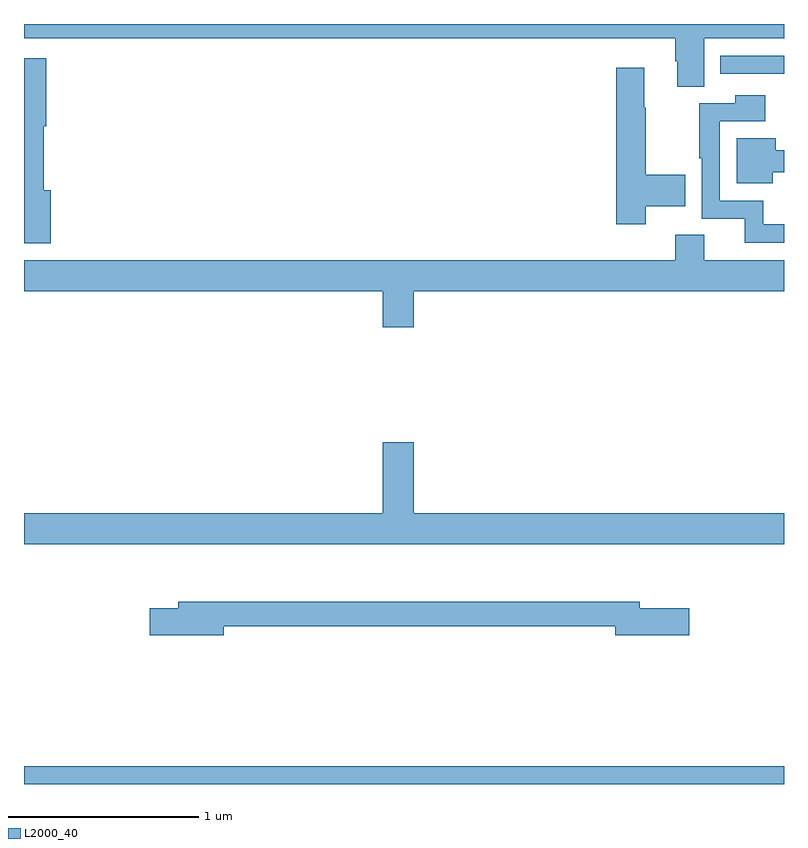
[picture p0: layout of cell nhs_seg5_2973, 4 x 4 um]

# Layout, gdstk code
import gdstk
lib = gdstk.Library(unit=1e-6, precision=1e-09)
def R(c, l, rs):  # rectangles x0, y0, x1, y1
    for r in rs: c.add(gdstk.rectangle(r[:2], r[2:], *l))
def P(c, l, *ps):  # polygons
    for p in ps: c.add(gdstk.Polygon(p, *l))
L2000_40 = (2000, 40)

nhs_seg5_2973 = lib.new_cell('nhs_seg5_2973')
R(nhs_seg5_2973, L2000_40, [(283,888.799,287,888.892), (286.664,892.536,287,892.632)])
P(nhs_seg5_2973, L2000_40, [(286.579,892.724),(287,892.724),(287,892.799),(283,892.799),(283,892.724),(286.427,892.724),(286.427,892.602),(286.439,892.602),(286.439,892.468),(286.579,892.468)],
  [(283.142,891.924),(283.105,891.924),(283.105,892.262),(283.118,892.262),(283.118,892.618),(283,892.618),(283,891.645),(283.142,891.645)],
  [(286.272,891.839),(286.481,891.839),(286.481,892.005),(286.272,892.005),(286.272,892.357),(286.264,892.357),(286.264,892.57),(286.118,892.57),(286.118,891.744),(286.272,891.744)],
  [(287,891.744),(286.891,891.744),(286.891,891.87),(286.662,891.87),(286.662,892.287),(286.9,892.287),(286.9,892.423),(286.744,892.423),(286.744,892.383),(286.554,892.383),(286.554,892.093),(286.566,892.093),(286.566,891.774),(286.793,891.774),(286.793,891.648),(287,891.648)],
  [(286.942,892.019),(287,892.019),(287,892.135),(286.957,892.135),(286.957,892.198),(286.751,892.198),(286.751,891.962),(286.942,891.962)],
  [(285.052,891.392),(287,891.392),(287,891.556),(286.579,891.556),(286.579,891.689),(286.427,891.689),(286.427,891.556),(283,891.556),(283,891.392),(284.888,891.392),(284.888,891.204),(285.052,891.204)],
  [(287,890.224),(285.052,890.224),(285.052,890.599),(284.888,890.599),(284.888,890.224),(283,890.224),(283,890.06),(287,890.06)],
  [(284.05,889.63),(286.112,889.63),(286.112,889.583),(286.501,889.583),(286.501,889.725),(286.24,889.725),(286.24,889.759),(283.811,889.759),(283.811,889.725),(283.662,889.725),(283.662,889.583),(284.05,889.583)])

lib.write_gds('nhs_seg5_2973.gds')
